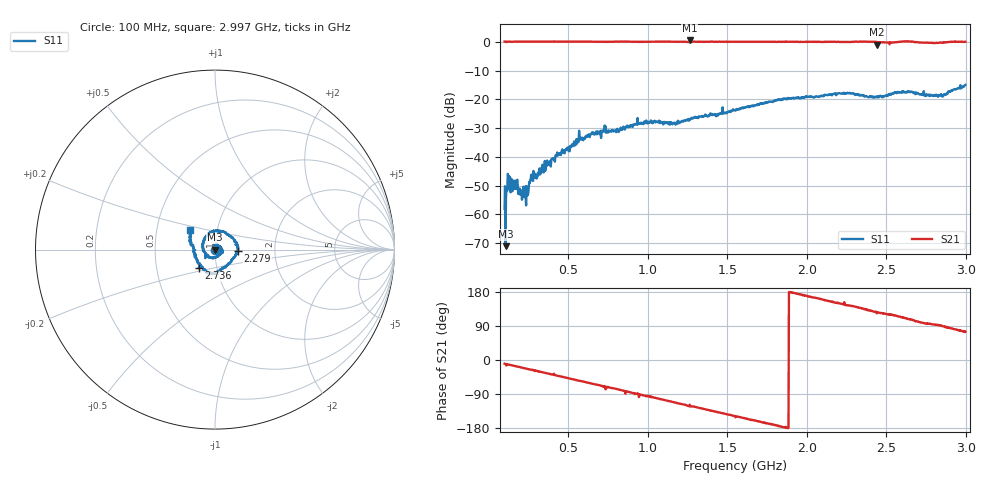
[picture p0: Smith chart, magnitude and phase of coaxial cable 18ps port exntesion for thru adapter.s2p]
# HZ S RI R 50
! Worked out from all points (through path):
!   1009 points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, 100 MHz to 2.997 GHz, reference 50 ohm
!   highest |S21| = 0.46 dB at 1.264 GHz (marker M1); lowest = -1.0 dB at 2.44 GHz (marker M2)
!   group delay of S21, straight-line fit = 264 ps
!   lowest |S11| = -71.1 dB at 105.7 MHz (marker M3), VSWR 1.00, Z = 50 - j0.0176 ohm
!   |S11| at or under -10 dB: start of sweep to end of sweep
!   S12 and S22 are empty: the file has one direction only
!   S11 on the Smith chart (normalised r, x): 100 MHz: 1.00, -0.00; 2.279 GHz: 1.29, -0.02; 2.736 GHz: 0.82, -0.17; 2.997 GHz: 0.74, +0.16
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1e8  0.00102 -0.000701  0.9924 -0.1708  0 0  0 0
1.057483e8  -0.000217 -0.000176  0.9869 -0.1797  0 0  0 0
1.229931e8  0.00166 -0.00436  0.9815 -0.2068  0 0  0 0
1.316155e8  0.00127 -0.00261  0.98 -0.2182  0 0  0 0
1.689792e8  0.000892 -0.00264  0.9675 -0.2825  0 0  0 0
2.005947e8  0.000401 -0.0022  0.9519 -0.3341  0 0  0 0
2.350843e8  -0.000618 -0.00129  0.9287 -0.3896  0 0  0 0
2.781962e8  -0.00287 -0.00249  0.9055 -0.4391  0 0  0 0
5.828543e8  -0.00297 0.0197  0.5644 -0.8311  0 0  0 0
8.501487e8  0.0272 0.0144  0.1527 -0.9963  0 0  0 0
1.065709e9  0.0365 -0.0162  -0.2024 -0.9854  0 0  0 0
1.264024e9  -0.00469 -0.0447  -0.4926 -0.9321  0 0  0 0
1.548563e9  -0.0638 -0.00203  -0.8471 -0.5308  0 0  0 0
1.82448e9  -0.0288 0.0944  -0.996 -0.1109  0 0  0 0
2.031417e9  0.0634 0.0912  -0.9674 0.2494  0 0  0 0
2.278593e9  0.1269 -0.00749  -0.7895 0.6032  0 0  0 0
2.439544e9  0.0725 -0.0858  -0.4872 0.7504  0 0  0 0
2.514272e9  0.0258 -0.1201  -0.4883 0.8403  0 0  0 0
2.626363e9  -0.0413 -0.1259  -0.3374 0.9637  0 0  0 0
2.73558e9  -0.0915 -0.1038  -0.1235 0.9559  0 0  0 0
2.862042e9  -0.1212 0.00259  0.0242 0.9789  0 0  0 0
2.997126e9  -0.1418 0.1073  0.2644 0.9656  0 0  0 0
